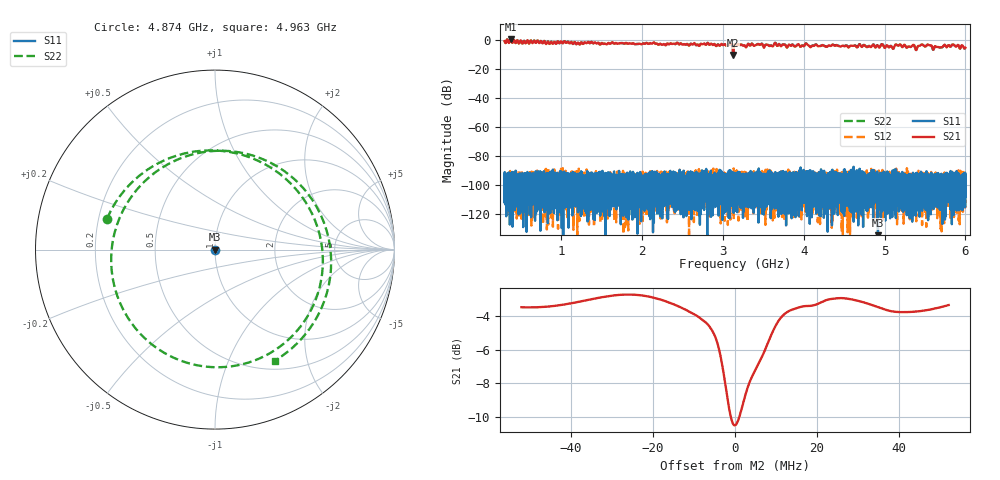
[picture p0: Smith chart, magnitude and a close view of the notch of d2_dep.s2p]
!Agilent Technologies,N5230C,SG49000117,A.08.50.07
!Agilent N5230C: A.08.50.07
!Date: Sunday, March 17, 2024 07:05:23
!Correction: S11(Off)
!S21(Off)
!S12(Off)
!S22(Off)
!S2P File: Measurements: S11, S21, S12, S22:
# Hz S  RI  R 50
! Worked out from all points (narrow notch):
!   20001 points, 300 MHz to 6 GHz, reference 50 ohm
!   highest |S21| = 0.48 dB at 374.4 MHz (marker M1); lowest = -10.5 dB at 3.126 GHz (marker M2)
!   notch at M2: 7.2 dB deep, 8.7 MHz wide at half that depth
!   lowest |S11| = -141.5 dB at 4.918 GHz (marker M3), VSWR 1.00, Z = 50 + j3.47e-06 ohm
!   |S11| at or under -10 dB: start of sweep to end of sweep
!   |S22| runs from -10.5 to 0.5 dB; largest |S21 - S12| = 1.1
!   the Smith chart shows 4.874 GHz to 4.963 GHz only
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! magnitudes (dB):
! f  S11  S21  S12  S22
! 300 MHz  -110.4  -0.9  -101.9  -0.8
! 374.4 MHz  -103.3  0.5  -99.4  0.5
! 1.25 GHz  -103.5  -1.7  -114.0  -1.7
! 2.2 GHz  -111.6  -3.4  -97.5  -3.4
! 2.831 GHz  -94.0  -3.4  -102.4  -3.3
! 3.126 GHz  -95.0  -10.5  -98.4  -10.5
! 3.15 GHz  -106.0  -3.0  -92.2  -2.9
! 3.17 GHz  -95.7  -3.7  -91.0  -3.7
! 3.272 GHz  -98.7  -4.2  -92.4  -4.1
! 3.459 GHz  -103.2  -3.4  -106.5  -3.4
! 3.978 GHz  -101.1  -4.0  -99.7  -3.9
! 4.038 GHz  -108.0  -2.9  -99.9  -2.8
! 4.1 GHz  -97.5  -4.3  -107.6  -4.2
! 4.918 GHz  -141.5  -4.1  -102.1  -4.0
! 5.05 GHz  -99.8  -5.0  -96.3  -5.0
! 5.17 GHz  -94.0  -4.0  -110.0  -4.0
! 5.399 GHz  -108.3  -6.0  -104.5  -6.0
! 5.447 GHz  -93.6  -3.7  -106.0  -3.7
! 5.55 GHz  -115.5  -3.8  -97.6  -3.8
! 5.616 GHz  -98.7  -5.0  -97.1  -5.0
! 5.849 GHz  -100.2  -3.3  -97.2  -3.3
! 6 GHz  -97.3  -5.4  -100.1  -5.5
